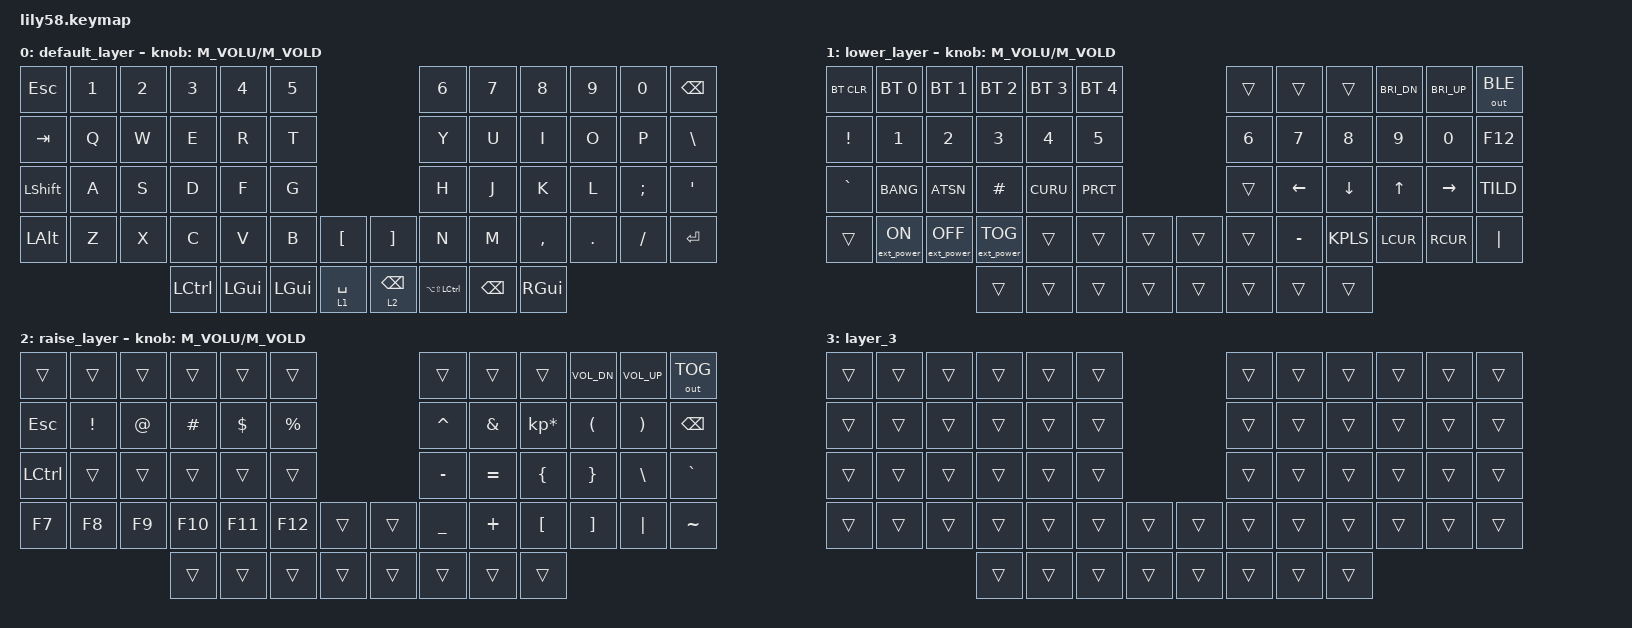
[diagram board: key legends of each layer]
/*
 * Copyright (c) 2020 The ZMK Contributors
 *
 * SPDX-License-Identifier: MIT
 */

#include <behaviors.dtsi>
#include <dt-bindings/zmk/bt.h>
#include <dt-bindings/zmk/ext_power.h>
#include <dt-bindings/zmk/keys.h>
#include <dt-bindings/zmk/outputs.h>

/ {
    keymap {
        compatible = "zmk,keymap";

        default_layer {
            // ------------------------------------------------------------------------------------------------------------
            // |  ESC  |  1  |  2  |  3   |  4   |  5   |                   |  6   |  7    |  8    |  9   |   0   |   `   |
            // |  TAB  |  Q  |  W  |  E   |  R   |  T   |                   |  Y   |  U    |  I    |  O   |   P   |   -   |
            // |  CTRL |  A  |  S  |  D   |  F   |  G   |                   |  H   |  J    |  K    |  L   |   ;   |   '   |
            // | SHIFT |  Z  |  X  |  C   |  V   |  B   |   "["  |  |  "]"  |  N   |  M    |  ,    |  .   |   /   | SHIFT |
            //                     | ALT  | GUI  | LOWER|  SPACE |  | ENTER | RAISE| BSPC  | GUI   |

            bindings = <
&kp ESC         &kp NUMBER_1  &kp NUMBER_2  &kp NUMBER_3  &kp NUMBER_4  &kp NUMBER_5                                  &kp NUMBER_6       &kp NUMBER_7  &kp NUMBER_8  &kp NUMBER_9  &kp NUMBER_0   &kp BACKSPACE
&kp TAB         &kp Q         &kp W         &kp E         &kp R         &kp T                                         &kp Y              &kp U         &kp I         &kp O         &kp P          &kp BACKSLASH
&kp LEFT_SHIFT  &kp A         &kp S         &kp D         &kp F         &kp G                                         &kp H              &kp J         &kp K         &kp L         &kp SEMICOLON  &kp SQT
&kp LEFT_ALT    &kp Z         &kp X         &kp C         &kp V         &kp B         &kp LBKT       &kp RBKT         &kp N              &kp M         &kp COMMA     &kp DOT       &kp FSLH       &kp RET
                                            &kp LCTRL     &kp LGUI      &kp LEFT_GUI  &lt 1 SPACE    &lt 2 BACKSPACE  &kp LA(LS(LCTRL))  &kp BKSP      &kp RGUI
            >;

            sensor-bindings = <&inc_dec_kp M_VOLU M_VOLD>;
        };

        lower_layer {
            // ------------------------------------------------------------------------------------------------------------
            // | BTCLR | BT1 | BT2 |  BT3 |  BT4 |  BT5 |                   |      |       |       |      |  Bri- |  Bri+ |
            // |  F1   |  F2 |  F3 |  F4  |  F5  |  F6  |                   |  F7  |  F8   |  F9   |  F10 |  F11  |  F12  |
            // |   `   |  !  |  @  |  #   |  $   |  %   |                   |      | LFT   |  DOWN | UP   |  Right|       |
            // |       |     |     |      |      |      |        |  |       |      |  _    |  +    |  {   |   }   |  "|"  |
            //                     |      |      |      |        |  |       |      |       |       |

            bindings = <
&bt BT_CLR       &bt BT_SEL 0      &bt BT_SEL 1       &bt BT_SEL 2       &bt BT_SEL 3  &bt BT_SEL 4                    &trans        &trans     &trans    &kp C_BRI_DN  &kp C_BRI_UP  &out OUT_BLE
&kp EXCLAMATION  &kp NUMBER_1      &kp NUMBER_2       &kp NUMBER_3       &kp NUMBER_4  &kp NUMBER_5                    &kp NUMBER_6  &kp N7     &kp N8    &kp N9        &kp N0        &kp F12
&kp GRAV         &kp BANG          &kp ATSN           &kp HASH           &kp CURU      &kp PRCT                        &trans        &kp LEFT   &kp DOWN  &kp UP        &kp RIGHT     &kp TILD
&trans           &ext_power EP_ON  &ext_power EP_OFF  &ext_power EP_TOG  &trans        &trans        &trans    &trans  &trans        &kp MINUS  &kp KPLS  &kp LCUR      &kp RCUR      &kp PIPE
                                                      &trans             &trans        &trans        &trans    &trans  &trans        &trans     &trans
            >;

            sensor-bindings = <&inc_dec_kp M_VOLU M_VOLD>;
        };

        raise_layer {
            // ------------------------------------------------------------------------------------------------------------
            // |       |     |     |      |      |      |                   |      |       |       | Vol- |  Vol+ |out_tog|
            // |  ESC  |  !  |  @  |  #   |  $   |  %   |                   |  ^   |  &    |  *    |  (   |  )    | BKSP  |
            // |   F1  |  F2 |  F3 |  F4  |  F5  |  F6  |                   |  -   |  =    |  [    |  ]   |  \    |  `    |
            // |   F7  |  F8 |  F9 |  F10 |  F11 |  F12 |        |  |       |  _   |  +    |  {    |  }   | "|"   |  ~ 	  |
            //                     |      |      |      |        |  |       |      |       |       |

            bindings = <
&trans     &trans    &trans  &trans    &trans    &trans                       &trans     &trans     &trans            &kp C_VOL_DN       &kp C_VOL_UP  &out OUT_TOG
&kp ESC    &kp EXCL  &kp AT  &kp HASH  &kp DLLR  &kp PRCNT                    &kp CARET  &kp AMPS   &kp KP_MULTIPLY   &kp LPAR           &kp RPAR      &kp BSPC
&kp LCTRL  &trans    &trans  &trans    &trans    &trans                       &kp MINUS  &kp EQUAL  &kp LEFT_BRACE    &kp RIGHT_BRACE    &kp BSLH      &kp GRAVE
&kp F7     &kp F8    &kp F9  &kp F10   &kp F11   &kp F12    &trans    &trans  &kp UNDER  &kp PLUS   &kp LEFT_BRACKET  &kp RIGHT_BRACKET  &kp PIPE      &kp TILDE
                             &trans    &trans    &trans     &trans    &trans  &trans     &trans     &trans
            >;

            sensor-bindings = <&inc_dec_kp M_VOLU M_VOLD>;
        };

        layer_3 {
            bindings = <
&trans  &trans  &trans  &trans  &trans  &trans                    &trans  &trans  &trans  &trans  &trans  &trans
&trans  &trans  &trans  &trans  &trans  &trans                    &trans  &trans  &trans  &trans  &trans  &trans
&trans  &trans  &trans  &trans  &trans  &trans                    &trans  &trans  &trans  &trans  &trans  &trans
&trans  &trans  &trans  &trans  &trans  &trans  &trans    &trans  &trans  &trans  &trans  &trans  &trans  &trans
                        &trans  &trans  &trans  &trans    &trans  &trans  &trans  &trans
            >;
        };
    };
};
